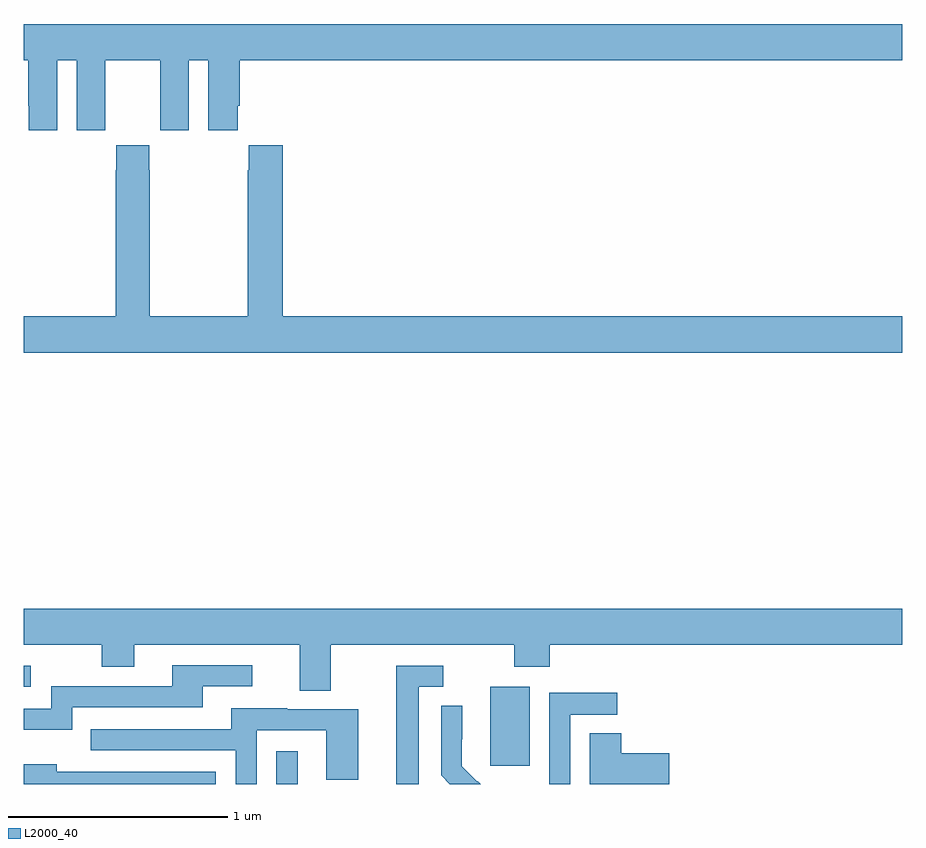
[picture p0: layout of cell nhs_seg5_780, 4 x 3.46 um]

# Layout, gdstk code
import gdstk
lib = gdstk.Library(unit=1e-6, precision=1e-09)
def R(c, l, rs):  # rectangles x0, y0, x1, y1
    for r in rs: c.add(gdstk.rectangle(r[:2], r[2:], *l))
def P(c, l, *ps):  # polygons
    for p in ps: c.add(gdstk.Polygon(p, *l))
L2000_40 = (2000, 40)

nhs_seg5_780 = lib.new_cell('nhs_seg5_780')
R(nhs_seg5_780, L2000_40, [(162.15,850.799,162.247,850.948), (163.124,850.881,163.303,851.242), (161,851.241,161.032,851.337)])
P(nhs_seg5_780, L2000_40, [(161.152,854.096),(161.24,854.096),(161.24,853.776),(161.37,853.776),(161.37,853.888),(161.371,853.888),(161.371,854.096),(161.621,854.096),(161.621,853.888),(161.622,853.888),(161.622,853.776),(161.752,853.776),(161.752,854.096),(161.84,854.096),(161.84,853.776),(161.974,853.776),(161.974,853.888),(161.984,853.888),(161.984,854.096),(165,854.096),(165,854.26),(161,854.26),(161,854.096),(161.021,854.096),(161.021,853.888),(161.022,853.888),(161.022,853.776),(161.152,853.776)],
  [(165,852.928),(162.179,852.928),(162.179,853.708),(162.025,853.708),(162.025,853.595),(162.019,853.595),(162.019,852.928),(161.574,852.928),(161.574,853.595),(161.571,853.595),(161.571,853.708),(161.421,853.708),(161.421,853.595),(161.419,853.595),(161.419,852.928),(161,852.928),(161,852.764),(165,852.764)],
  [(162.397,851.432),(163.234,851.432),(163.234,851.333),(163.394,851.333),(163.394,851.432),(165,851.432),(165,851.596),(161,851.596),(161,851.432),(161.356,851.432),(161.356,851.333),(161.503,851.333),(161.503,851.432),(162.257,851.432),(162.257,851.224),(162.397,851.224)],
  [(161.22,851.148),(161.815,851.148),(161.815,851.244),(162.04,851.244),(162.04,851.34),(161.675,851.34),(161.675,851.244),(161.124,851.244),(161.124,851.142),(161,851.142),(161,851.045),(161.22,851.045)],
  [(162.799,851.241),(162.91,851.241),(162.91,851.337),(162.695,851.337),(162.695,850.799),(162.799,850.799)],
  [(163.488,851.115),(163.702,851.115),(163.702,851.214),(163.392,851.214),(163.392,850.799),(163.488,850.799)],
  [(163.068,850.812),(163.065,850.809),(162.995,850.88),(162.995,851.002),(162.996,851.002),(162.996,851.156),(162.9,851.156),(162.9,850.838),(162.939,850.799),(163.081,850.799)],
  [(162.06,851.043),(162.378,851.043),(162.378,850.819),(162.523,850.819),(162.523,851.139),(162.199,851.139),(162.199,851.143),(161.945,851.143),(161.945,851.049),(161.305,851.049),(161.305,850.953),(161.964,850.953),(161.964,850.799),(162.06,850.799)],
  [(163.939,850.94),(163.721,850.94),(163.721,851.03),(163.577,851.03),(163.577,850.799),(163.939,850.799)],
  [(161.874,850.854),(161.15,850.854),(161.15,850.888),(161,850.888),(161,850.799),(161.874,850.799)])

lib.write_gds('nhs_seg5_780.gds')
